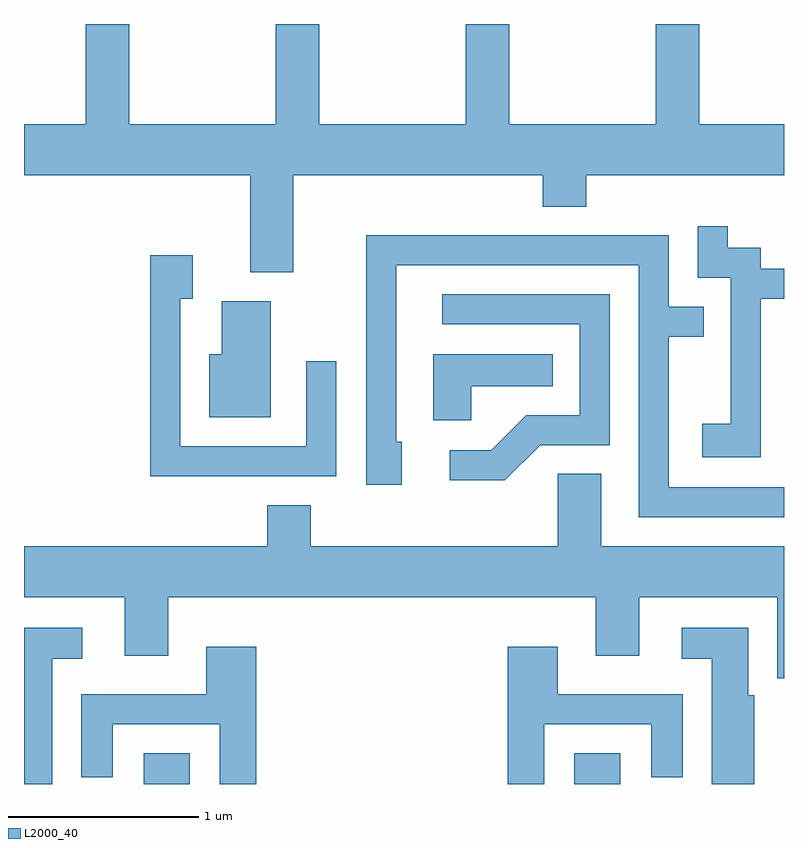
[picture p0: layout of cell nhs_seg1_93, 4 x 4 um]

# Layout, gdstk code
import gdstk
lib = gdstk.Library(unit=1e-6, precision=1e-09)
def R(c, l, rs):  # rectangles x0, y0, x1, y1
    for r in rs: c.add(gdstk.rectangle(r[:2], r[2:], *l))
def P(c, l, *ps):  # polygons
    for p in ps: c.add(gdstk.Polygon(p, *l))
L2000_40 = (2000, 40)

nhs_seg1_93 = lib.new_cell('nhs_seg1_93')
R(nhs_seg1_93, L2000_40, [(188.241,889.712,188.484,889.874), (190.506,889.712,190.749,889.874)])
P(nhs_seg1_93, L2000_40, [(189.029,892.916),(190.341,892.916),(190.341,892.751),(190.569,892.751),(190.569,892.916),(191.611,892.916),(191.611,893.184),(191.164,893.184),(191.164,893.712),(190.936,893.712),(190.936,893.184),(190.164,893.184),(190.164,893.712),(189.936,893.712),(189.936,893.184),(189.164,893.184),(189.164,893.712),(188.936,893.712),(188.936,893.184),(188.164,893.184),(188.164,893.712),(187.936,893.712),(187.936,893.184),(187.611,893.184),(187.611,892.916),(188.801,892.916),(188.801,892.406),(189.029,892.406)],
  [(191.489,892.266),(191.611,892.266),(191.611,892.424),(191.489,892.424),(191.489,892.534),(191.314,892.534),(191.314,892.648),(191.156,892.648),(191.156,892.376),(191.331,892.376),(191.331,891.609),(191.181,891.609),(191.181,891.431),(191.489,891.431)],
  [(191.611,891.274),(191.004,891.274),(191.004,892.066),(191.188,892.066),(191.188,892.224),(191.004,892.224),(191.004,892.599),(189.411,892.599),(189.411,891.286),(189.599,891.286),(189.599,891.514),(189.569,891.514),(189.569,892.441),(190.846,892.441),(190.846,891.116),(191.611,891.116)],
  [(189.254,891.938),(189.096,891.938),(189.096,891.489),(188.434,891.489),(188.434,892.266),(188.499,892.266),(188.499,892.494),(188.276,892.494),(188.276,891.331),(189.254,891.331)],
  [(190.327,891.496),(190.694,891.496),(190.694,892.289),(189.813,892.289),(189.813,892.131),(190.536,892.131),(190.536,891.654),(190.254,891.654),(190.069,891.469),(189.853,891.469),(189.853,891.311),(190.142,891.311)],
  [(188.909,892.254),(188.651,892.254),(188.651,891.974),(188.586,891.974),(188.586,891.641),(188.909,891.641)],
  [(189.964,891.806),(190.393,891.806),(190.393,891.974),(189.766,891.974),(189.766,891.626),(189.964,891.626)],
  [(191.611,890.964),(190.649,890.964),(190.649,891.344),(190.421,891.344),(190.421,890.964),(189.119,890.964),(189.119,891.179),(188.891,891.179),(188.891,890.964),(187.611,890.964),(187.611,890.696),(188.141,890.696),(188.141,890.386),(188.369,890.386),(188.369,890.696),(190.621,890.696),(190.621,890.386),(190.849,890.386),(190.849,890.696),(191.576,890.696),(191.576,890.268),(191.611,890.268)],
  [(187.759,890.371),(187.918,890.371),(187.918,890.534),(187.611,890.534),(187.611,889.712),(187.759,889.712)],
  [(191.454,890.179),(191.424,890.179),(191.424,890.534),(191.073,890.534),(191.073,890.371),(191.231,890.371),(191.231,889.712),(191.454,889.712)],
  [(190.349,890.026),(190.911,890.026),(190.911,889.748),(191.079,889.748),(191.079,890.184),(190.419,890.184),(190.419,890.434),(190.156,890.434),(190.156,889.712),(190.349,889.712)],
  [(188.834,890.434),(188.571,890.434),(188.571,890.184),(187.911,890.184),(187.911,889.748),(188.079,889.748),(188.079,890.026),(188.641,890.026),(188.641,889.712),(188.834,889.712)])

lib.write_gds('nhs_seg1_93.gds')
